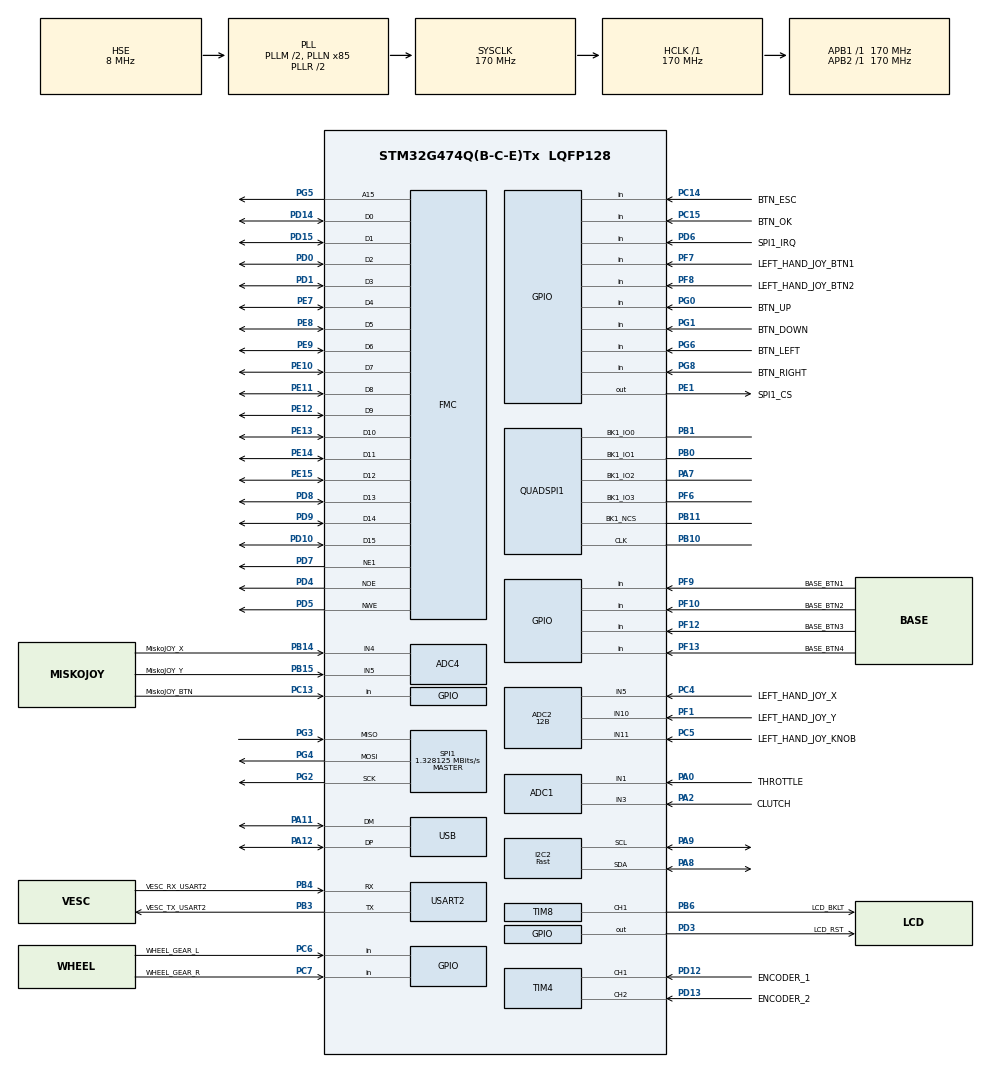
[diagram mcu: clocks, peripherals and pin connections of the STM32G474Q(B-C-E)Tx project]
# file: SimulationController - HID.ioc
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ADC1.Channel-0\#ChannelRegularConversion=ADC_CHANNEL_1
ADC1.Channel-1\#ChannelRegularConversion=ADC_CHANNEL_3
ADC1.ContinuousConvMode=DISABLE
ADC1.DMAContinuousRequests=ENABLE
ADC1.EOCSelection=ADC_EOC_SEQ_CONV
ADC1.ExternalTrigConv=ADC_EXTERNALTRIG_T2_TRGO
ADC1.NbrOfConversion=2
ADC1.NbrOfConversionFlag=1
ADC1.OffsetNumber-0\#ChannelRegularConversion=ADC_OFFSET_NONE
ADC1.OffsetNumber-1\#ChannelRegularConversion=ADC_OFFSET_NONE
ADC1.Overrun=ADC_OVR_DATA_OVERWRITTEN
ADC1.OversamplingMode=ENABLE
ADC1.Rank-0\#ChannelRegularConversion=1
ADC1.Rank-1\#ChannelRegularConversion=2
ADC1.Ratio=ADC_OVERSAMPLING_RATIO_16
ADC1.RightBitShift=ADC_RIGHTBITSHIFT_4
ADC1.SamplingTime-0\#ChannelRegularConversion=ADC_SAMPLETIME_2CYCLES_5
ADC1.SamplingTime-1\#ChannelRegularConversion=ADC_SAMPLETIME_2CYCLES_5
ADC1.master=1
ADC2.Channel-0\#ChannelRegularConversion=ADC_CHANNEL_5
ADC2.Channel-1\#ChannelRegularConversion=ADC_CHANNEL_10
ADC2.Channel-2\#ChannelRegularConversion=ADC_CHANNEL_11
ADC2.ContinuousConvMode=DISABLE
ADC2.DMAContinuousRequests=ENABLE
ADC2.EOCSelection=ADC_EOC_SEQ_CONV
ADC2.ExternalTrigConv=ADC_EXTERNALTRIG_T2_TRGO
ADC2.NbrOfConversion=3
ADC2.NbrOfConversionFlag=1
ADC2.OffsetNumber-0\#ChannelRegularConversion=ADC_OFFSET_NONE
ADC2.OffsetNumber-1\#ChannelRegularConversion=ADC_OFFSET_NONE
ADC2.OffsetNumber-2\#ChannelRegularConversion=ADC_OFFSET_NONE
ADC2.Overrun=ADC_OVR_DATA_OVERWRITTEN
ADC2.OversamplingMode=ENABLE
ADC2.Rank-0\#ChannelRegularConversion=1
ADC2.Rank-1\#ChannelRegularConversion=2
ADC2.Rank-2\#ChannelRegularConversion=3
ADC2.Ratio=ADC_OVERSAMPLING_RATIO_16
ADC2.Resolution=ADC_RESOLUTION_12B
ADC2.RightBitShift=ADC_RIGHTBITSHIFT_4
ADC2.SamplingTime-0\#ChannelRegularConversion=ADC_SAMPLETIME_2CYCLES_5
ADC2.SamplingTime-1\#ChannelRegularConversion=ADC_SAMPLETIME_2CYCLES_5
ADC2.SamplingTime-2\#ChannelRegularConversion=ADC_SAMPLETIME_2CYCLES_5
ADC4.Channel-0\#ChannelRegularConversion=ADC_CHANNEL_4
ADC4.Channel-1\#ChannelRegularConversion=ADC_CHANNEL_5
ADC4.ContinuousConvMode=DISABLE
ADC4.DMAContinuousRequests=ENABLE
ADC4.EOCSelection=ADC_EOC_SEQ_CONV
ADC4.ExternalTrigConv=ADC_EXTERNALTRIG_T2_TRGO
ADC4.GainCompensation=0
ADC4.NbrOfConversion=2
ADC4.NbrOfConversionFlag=1
ADC4.OffsetNumber-0\#ChannelRegularConversion=ADC_OFFSET_NONE
ADC4.OffsetNumber-1\#ChannelRegularConversion=ADC_OFFSET_NONE
ADC4.Overrun=ADC_OVR_DATA_OVERWRITTEN
ADC4.OversamplingMode=ENABLE
ADC4.Rank-0\#ChannelRegularConversion=1
ADC4.Rank-1\#ChannelRegularConversion=2
ADC4.Ratio=ADC_OVERSAMPLING_RATIO_16
ADC4.RightBitShift=ADC_RIGHTBITSHIFT_4
ADC4.SamplingTime-0\#ChannelRegularConversion=ADC_SAMPLETIME_2CYCLES_5
ADC4.SamplingTime-1\#ChannelRegularConversion=ADC_SAMPLETIME_2CYCLES_5
AL94.I-CUBE-USBD-COMPOSITE.1.0.3._STM32F1_DEVICE=true
AL94.I-CUBE-USBD-COMPOSITE.1.0.3._USBD_USE_CDC_RNDIS=false
AL94.I-CUBE-USBD-COMPOSITE.1.0.3._USBD_USE_HID_CUSTOM=true
AL94.I-CUBE-USBD-COMPOSITE.1.0.3._USBD_USE_HID_KEYBOARD=false
AL94.I-CUBE-USBD-COMPOSITE.1.0.3._USBD_USE_HID_MOUSE=false
AL94.I-CUBE-USBD-COMPOSITE.1.0.3._USBD_USE_HS=false
Dma.ADC1.1.Direction=DMA_PERIPH_TO_MEMORY
Dma.ADC1.1.EventEnable=DISABLE
Dma.ADC1.1.Instance=DMA1_Channel1
Dma.ADC1.1.MemDataAlignment=DMA_MDATAALIGN_HALFWORD
Dma.ADC1.1.MemInc=DMA_MINC_ENABLE
Dma.ADC1.1.Mode=DMA_CIRCULAR
Dma.ADC1.1.PeriphDataAlignment=DMA_PDATAALIGN_HALFWORD
Dma.ADC1.1.PeriphInc=DMA_PINC_DISABLE
Dma.ADC1.1.Polarity=HAL_DMAMUX_REQ_GEN_RISING
Dma.ADC1.1.Priority=DMA_PRIORITY_HIGH
Dma.ADC1.1.RequestNumber=1
Dma.ADC1.1.SignalID=NONE
Dma.ADC1.1.SyncEnable=DISABLE
Dma.ADC1.1.SyncPolarity=HAL_DMAMUX_SYNC_NO_EVENT
Dma.ADC1.1.SyncRequestNumber=1
Dma.ADC1.1.SyncSignalID=NONE
Dma.ADC2.0.Direction=DMA_PERIPH_TO_MEMORY
Dma.ADC2.0.EventEnable=DISABLE
Dma.ADC2.0.Instance=DMA1_Channel2
Dma.ADC2.0.MemDataAlignment=DMA_MDATAALIGN_HALFWORD
Dma.ADC2.0.MemInc=DMA_MINC_ENABLE
Dma.ADC2.0.Mode=DMA_CIRCULAR
Dma.ADC2.0.PeriphDataAlignment=DMA_PDATAALIGN_HALFWORD
Dma.ADC2.0.PeriphInc=DMA_PINC_DISABLE
Dma.ADC2.0.Polarity=HAL_DMAMUX_REQ_GEN_RISING
Dma.ADC2.0.Priority=DMA_PRIORITY_HIGH
Dma.ADC2.0.RequestNumber=1
Dma.ADC2.0.SignalID=NONE
Dma.ADC2.0.SyncEnable=DISABLE
Dma.ADC2.0.SyncPolarity=HAL_DMAMUX_SYNC_NO_EVENT
Dma.ADC2.0.SyncRequestNumber=1
Dma.ADC2.0.SyncSignalID=NONE
Dma.ADC4.2.Direction=DMA_PERIPH_TO_MEMORY
Dma.ADC4.2.EventEnable=DISABLE
Dma.ADC4.2.Instance=DMA1_Channel3
Dma.ADC4.2.MemDataAlignment=DMA_MDATAALIGN_HALFWORD
Dma.ADC4.2.MemInc=DMA_MINC_ENABLE
Dma.ADC4.2.Mode=DMA_CIRCULAR
Dma.ADC4.2.PeriphDataAlignment=DMA_PDATAALIGN_HALFWORD
Dma.ADC4.2.PeriphInc=DMA_PINC_DISABLE
Dma.ADC4.2.Polarity=HAL_DMAMUX_REQ_GEN_RISING
Dma.ADC4.2.Priority=DMA_PRIORITY_HIGH
Dma.ADC4.2.RequestNumber=1
Dma.ADC4.2.SignalID=NONE
Dma.ADC4.2.SyncEnable=DISABLE
Dma.ADC4.2.SyncPolarity=HAL_DMAMUX_SYNC_NO_EVENT
Dma.ADC4.2.SyncRequestNumber=1
Dma.ADC4.2.SyncSignalID=NONE
Dma.Request0=ADC2
Dma.Request1=ADC1
Dma.Request2=ADC4
FMC.AddressSetupTime1=3
FMC.BusTurnAroundDuration1=2
FMC.DataHoldTime1=2
FMC.DataSetupTime1=2
I2C2.I2C_Speed_Mode=I2C_Fast
I2C2.Timing=0x40621236
Mcu.Family=STM32G4
Mcu.Name=STM32G474Q(B-C-E)Tx
Mcu.Package=LQFP128
NVIC.ADC1_2_IRQn=true\:0\:0\:false\:false\:true\:true\:true\:true
NVIC.ADC4_IRQn=true\:0\:0\:false\:false\:true\:true\:true\:true
NVIC.DMA1_Channel1_IRQn=true\:0\:0\:false\:false\:true\:false\:true\:true
NVIC.DMA1_Channel2_IRQn=true\:0\:0\:false\:false\:true\:false\:true\:true
NVIC.DMA1_Channel3_IRQn=true\:0\:0\:false\:false\:true\:false\:true\:true
NVIC.PriorityGroup=NVIC_PRIORITYGROUP_4
NVIC.SPI1_IRQn=true\:0\:0\:false\:false\:true\:true\:true\:true
NVIC.TIM2_IRQn=true\:1\:0\:true\:false\:true\:true\:true\:true
NVIC.TIM3_IRQn=true\:2\:0\:true\:false\:true\:true\:true\:true
NVIC.USB_HP_IRQn=true\:0\:0\:false\:false\:true\:true\:true\:true
NVIC.USB_LP_IRQn=true\:0\:0\:false\:false\:true\:true\:true\:true
PA0.GPIO_Label=THROTTLE
PA0.Mode=IN1-Single-Ended
PA0.Signal=ADC1_IN1
PA11.Mode=Device
PA11.Signal=USB_DM
PA12.Mode=Device
PA12.Signal=USB_DP
PA13.Mode=Serial_Wire
PA13.Signal=SYS_JTMS-SWDIO
PA14.Mode=Serial_Wire
PA14.Signal=SYS_JTCK-SWCLK
PA2.GPIO_Label=CLUTCH
PA2.Mode=IN3-Single-Ended
PA2.Signal=ADC1_IN3
PA7.GPIO_Speed=GPIO_SPEED_FREQ_VERY_HIGH
PA7.Mode=Single Bank 1
PA7.Signal=QUADSPI1_BK1_IO2
PA8.Mode=I2C
PA8.Signal=I2C2_SDA
PA9.Mode=I2C
PA9.Signal=I2C2_SCL
PB0.GPIO_Speed=GPIO_SPEED_FREQ_VERY_HIGH
PB0.Mode=Single Bank 1
PB0.Signal=QUADSPI1_BK1_IO1
PB1.GPIO_Speed=GPIO_SPEED_FREQ_VERY_HIGH
PB1.Mode=Single Bank 1
PB1.Signal=QUADSPI1_BK1_IO0
PB10.GPIO_Speed=GPIO_SPEED_FREQ_VERY_HIGH
PB10.Mode=Single Bank 1
PB10.Signal=QUADSPI1_CLK
PB11.GPIO_Speed=GPIO_SPEED_FREQ_VERY_HIGH
PB11.Mode=Single Bank 1
PB11.Signal=QUADSPI1_BK1_NCS
PB14.GPIO_Label=MiskoJOY_X
PB14.Mode=IN4-Single-Ended
PB14.Signal=ADC4_IN4
PB15.GPIO_Label=MiskoJOY_Y
PB15.Mode=IN5-Single-Ended
PB15.Signal=ADC4_IN5
PB3.GPIO_Label=VESC_TX_USART2
PB3.Mode=Asynchronous
PB3.Signal=USART2_TX
PB4.GPIO_Label=VESC_RX_USART2
PB4.Mode=Asynchronous
PB4.Signal=USART2_RX
PB6.GPIO_Label=LCD_BKLT
PB6.Signal=S_TIM8_CH1
PC13.GPIO_Label=MiskoJOY_BTN
PC13.GPIO_PuPd=GPIO_PULLUP
PC13.Signal=GPIO_Input
PC14-OSC32_IN.GPIO_Label=BTN_ESC
PC14-OSC32_IN.GPIO_PuPd=GPIO_PULLUP
PC14-OSC32_IN.Signal=GPIO_Input
PC15-OSC32_OUT.GPIO_Label=BTN_OK
PC15-OSC32_OUT.GPIO_PuPd=GPIO_PULLUP
PC15-OSC32_OUT.Signal=GPIO_Input
PC4.GPIO_Label=LEFT_HAND_JOY_X
PC4.Mode=IN5-Single-Ended
PC4.Signal=ADC2_IN5
PC5.GPIO_Label=LEFT_HAND_JOY_KNOB
PC5.Mode=IN11-Single-Ended
PC5.Signal=ADC2_IN11
PC6.GPIO_Label=WHEEL_GEAR_L
PC6.GPIO_PuPd=GPIO_PULLUP
PC6.Signal=GPIO_Input
PC7.GPIO_Label=WHEEL_GEAR_R
PC7.GPIO_PuPd=GPIO_PULLUP
PC7.Signal=GPIO_Input
PD0.Signal=FMC_D2_DA2
PD1.Signal=FMC_D3_DA3
PD10.Signal=FMC_D15_DA15
PD12.GPIO_Label=ENCODER_1
PD12.Signal=S_TIM4_CH1
PD13.GPIO_Label=ENCODER_2
PD13.Signal=S_TIM4_CH2
PD14.Signal=FMC_D0_DA0
PD15.Signal=FMC_D1_DA1
PD3.GPIO_Label=LCD_RST
PD3.Signal=GPIO_Output
PD4.Signal=FMC_NOE
PD5.Signal=FMC_NWE
PD6.GPIO_Label=SPI1_IRQ
PD6.GPIO_PuPd=GPIO_PULLUP
PD6.Signal=GPIO_Input
PD7.Mode=NorPsramChipSelect1_1
PD7.Signal=FMC_NE1
PD8.Signal=FMC_D13_DA13
PD9.Signal=FMC_D14_DA14
PE1.GPIO_Label=SPI1_CS
PE1.PinState=GPIO_PIN_SET
PE1.Signal=GPIO_Output
PE10.Signal=FMC_D7_DA7
PE11.Signal=FMC_D8_DA8
PE12.Signal=FMC_D9_DA9
PE13.Signal=FMC_D10_DA10
PE14.Signal=FMC_D11_DA11
PE15.Signal=FMC_D12_DA12
PE7.Signal=FMC_D4_DA4
PE8.Signal=FMC_D5_DA5
PE9.Signal=FMC_D6_DA6
PF0-OSC_IN.Mode=HSE-External-Clock-Source
PF0-OSC_IN.Signal=RCC_OSC_IN
PF1-OSC_OUT.GPIO_Label=LEFT_HAND_JOY_Y
PF1-OSC_OUT.Mode=IN10-Single-Ended
PF1-OSC_OUT.Signal=ADC2_IN10
PF10.GPIO_Label=BASE_BTN2
PF10.GPIO_PuPd=GPIO_PULLUP
PF10.Signal=GPIO_Input
PF12.GPIO_Label=BASE_BTN3
PF12.GPIO_PuPd=GPIO_PULLUP
PF12.Signal=GPIO_Input
PF13.GPIO_Label=BASE_BTN4
PF13.GPIO_PuPd=GPIO_PULLUP
PF13.Signal=GPIO_Input
PF6.GPIO_Speed=GPIO_SPEED_FREQ_VERY_HIGH
PF6.Mode=Single Bank 1
PF6.Signal=QUADSPI1_BK1_IO3
PF7.GPIO_Label=LEFT_HAND_JOY_BTN1
PF7.GPIO_PuPd=GPIO_PULLUP
PF7.Signal=GPIO_Input
PF8.GPIO_Label=LEFT_HAND_JOY_BTN2
PF8.GPIO_PuPd=GPIO_PULLUP
PF8.Signal=GPIO_Input
PF9.GPIO_Label=BASE_BTN1
PF9.GPIO_PuPd=GPIO_PULLUP
PF9.Signal=GPIO_Input
PG0.GPIO_Label=BTN_UP
PG0.GPIO_PuPd=GPIO_PULLUP
PG0.Signal=GPIO_Input
PG1.GPIO_Label=BTN_DOWN
PG1.GPIO_PuPd=GPIO_PULLUP
PG1.Signal=GPIO_Input
PG2.GPIO_PuPd=GPIO_PULLUP
PG2.GPIO_Speed=GPIO_SPEED_FREQ_VERY_HIGH
PG2.Mode=Full_Duplex_Master
PG2.Signal=SPI1_SCK
PG3.GPIO_PuPd=GPIO_PULLUP
PG3.GPIO_Speed=GPIO_SPEED_FREQ_VERY_HIGH
PG3.Mode=Full_Duplex_Master
PG3.Signal=SPI1_MISO
PG4.GPIO_PuPd=GPIO_PULLUP
PG4.GPIO_Speed=GPIO_SPEED_FREQ_VERY_HIGH
PG4.Mode=Full_Duplex_Master
PG4.Signal=SPI1_MOSI
PG5.Signal=FMC_A15
PG6.GPIO_Label=BTN_LEFT
PG6.GPIO_PuPd=GPIO_PULLUP
PG6.Signal=GPIO_Input
PG8.GPIO_Label=BTN_RIGHT
PG8.GPIO_PuPd=GPIO_PULLUP
PG8.Signal=GPIO_Input
ProjectManager.HeapSize=0x200
ProjectManager.StackSize=0x400
ProjectManager.TargetToolchain=STM32CubeIDE
QUADSPI1.ClockPrescaler=4
QUADSPI1.FlashSize=23
RCC.ADC12Freq_Value=170000000
RCC.ADC345Freq_Value=170000000
RCC.AHBFreq_Value=170000000
RCC.APB1Freq_Value=170000000
RCC.APB1TimFreq_Value=170000000
RCC.APB2Freq_Value=170000000
RCC.APB2TimFreq_Value=170000000
RCC.CK48CLockSelection=RCC_USBCLKSOURCE_HSI48
RCC.CortexFreq_Value=170000000
RCC.EXTERNAL_CLOCK_VALUE=12288000
RCC.HCLKFreq_Value=170000000
RCC.HSE_VALUE=8000000
RCC.HSI48_VALUE=48000000
RCC.HSI_VALUE=16000000
RCC.LSE_VALUE=32768
RCC.PLLM=RCC_PLLM_DIV2
RCC.PLLN=85
RCC.PLLQ=RCC_PLLQ_DIV6
RCC.PLLSourceVirtual=RCC_PLLSOURCE_HSE
RCC.SYSCLKFreq_VALUE=170000000
RCC.SYSCLKSource=RCC_SYSCLKSOURCE_PLLCLK
RCC.USBFreq_Value=48000000
RCC.VCOOutputFreq_Value=340000000
SH.FMC_A15.0=FMC_A15,A15_1
SH.FMC_D0_DA0.0=FMC_D0,16b-d1
SH.FMC_D10_DA10.0=FMC_D10,16b-d1
SH.FMC_D11_DA11.0=FMC_D11,16b-d1
SH.FMC_D12_DA12.0=FMC_D12,16b-d1
SH.FMC_D13_DA13.0=FMC_D13,16b-d1
SH.FMC_D14_DA14.0=FMC_D14,16b-d1
SH.FMC_D15_DA15.0=FMC_D15,16b-d1
SH.FMC_D1_DA1.0=FMC_D1,16b-d1
SH.FMC_D2_DA2.0=FMC_D2,16b-d1
SH.FMC_D3_DA3.0=FMC_D3,16b-d1
SH.FMC_D4_DA4.0=FMC_D4,16b-d1
SH.FMC_D5_DA5.0=FMC_D5,16b-d1
SH.FMC_D6_DA6.0=FMC_D6,16b-d1
SH.FMC_D7_DA7.0=FMC_D7,16b-d1
SH.FMC_D8_DA8.0=FMC_D8,16b-d1
SH.FMC_D9_DA9.0=FMC_D9,16b-d1
SH.FMC_NOE.0=FMC_NOE,Lcd1
SH.FMC_NWE.0=FMC_NWE,Lcd1
SH.S_TIM4_CH1.0=TIM4_CH1,Encoder_Interface
SH.S_TIM4_CH2.0=TIM4_CH2,Encoder_Interface
SH.S_TIM8_CH1.0=TIM8_CH1,PWM Generation1 CH1
SPI1.BaudRatePrescaler=SPI_BAUDRATEPRESCALER_128
SPI1.CalculateBaudRate=1.328125 MBits/s
SPI1.DataSize=SPI_DATASIZE_8BIT
SPI1.Direction=SPI_DIRECTION_2LINES
SPI1.Mode=SPI_MODE_MASTER
SPI1.NSSPMode=SPI_NSS_PULSE_DISABLE
SPI1.VirtualType=VM_MASTER
TIM2.PeriodNoDither=999
TIM2.Prescaler=1699
TIM2.TIM_MasterOutputTrigger=TIM_TRGO_UPDATE
TIM2.TIM_MasterSlaveMode=TIM_MASTERSLAVEMODE_ENABLE
TIM3.AutoReloadPreload=TIM_AUTORELOAD_PRELOAD_ENABLE
TIM3.PeriodNoDither=4999
TIM3.Prescaler=169
TIM3.TIM_MasterOutputTrigger=TIM_TRGO_RESET
TIM4.EncoderMode=TIM_ENCODERMODE_TI12
TIM8.Channel-PWM\ Generation1\ CH1=TIM_CHANNEL_1
TIM8.PeriodNoDither=999
USART2.VirtualMode-Asynchronous=VM_ASYNC
USB_DEVICE.CLASS_NAME_FS=CUSTOM_HID
USB_DEVICE.CUSTOM_HID_FS_BINTERVAL=0x1
USB_DEVICE.USBD_CUSTOMHID_OUTREPORT_BUF_SIZE=64
USB_DEVICE.USBD_CUSTOM_HID_REPORT_DESC_SIZE=64
USB_DEVICE.USBD_MAX_NUM_INTERFACES=2
USB_DEVICE.VirtualMode=CustomHid
USB_DEVICE.VirtualModeFS=Custom_Hid_FS
VP_SYS_VS_DBSignals.Mode=DisableDeadBatterySignals
VP_TIM2_VS_ClockSourceINT.Mode=Internal
VP_TIM3_VS_ClockSourceINT.Mode=Internal
VP_USB_DEVICE_VS_USB_DEVICE_CUSTOM_HID_FS.Mode=CUSTOM_HID_FS
board=custom

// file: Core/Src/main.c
/* USER CODE BEGIN Header */
/**
  ******************************************************************************
  * @file           : main.c
  * @brief          : Main program body
  ******************************************************************************
  * @attention
  *
  * Copyright (c) 2025 STMicroelectronics.
  * All rights reserved.
  *
  * This software is licensed under terms that can be found in the LICENSE file
  * in the root directory of this software component.
  * If no LICENSE file comes with this software, it is provided AS-IS.
  *
  ******************************************************************************
  */
/* USER CODE END Header */
#include "main.h"
#include "adc.h"
#include "dma.h"
#include "i2c.h"
#include "quadspi.h"
#include "spi.h"
#include "tim.h"
#include "usart.h"
#include "usb_device.h"
#include "gpio.h"
#include "fmc.h"

/* USER CODE BEGIN Includes */
#include "InputCollection.h"
#include "ili9341.h"
#include "ui.h"
#include "touch_driver.h"
#include "actions.h"
#include "lvgl.h"
#include "vars.h"
#include "lvgl_lcd.h"
#include "flash_settings.h"
#include "usb_device.h"
#include "ffb_pid.h"
#include "vesc_uart.h"
/* USER CODE END Includes */

/* USER CODE BEGIN PM */
SystemSettings system_settings;
/* USER CODE END PM */

void SystemClock_Config(void);
/* USER CODE BEGIN PFP */

void HAL_TIM_PeriodElapsedCallback(TIM_HandleTypeDef *htim)
{
    if (htim != &htim2) return;

    static RawInputs  raw    = {0};
    static MappedAxes mapped = {0};
    static uint32_t   brake_div = 0;

    uint32_t now = HAL_GetTick();

    /* Update brake cache at NAU7802 rate, independently of main sample rate.
       At 1000 Hz main rate and 80 SPS NAU7802: update every 13 ticks (~77 Hz margin). */
    if (++brake_div >= (system_settings.frequency / 320))
    {
        brake_div = 0;
        Inputs_UpdateBrake();
    }

    Inputs_CollectAll(&raw);
    Inputs_MapAxes(&raw, &mapped);
    Inputs_BuildAndSendReport(&mapped, raw.buttons);

    int32_t position = (int32_t)mapped.values[AXIS_WHEEL];
    int32_t speed    = FFB_CalculateSpeed(AXIS_WHEEL, position, now);
    int32_t accel    = FFB_CalculateAccel(AXIS_WHEEL, speed, now);
    FFB_SetMotorCurrent(FFB_GetForce(position, speed, accel, now));
}

/* USER CODE END PFP */

int main(void)
{

  /* MCU Configuration--------------------------------------------------------*/

  /* Reset of all peripherals, Initializes the Flash interface and the Systick. */
  HAL_Init();

  /* Configure the system clock */
  SystemClock_Config();

  /* Initialize all configured peripherals */
  MX_GPIO_Init();
  MX_DMA_Init();
  MX_ADC1_Init();
  MX_ADC2_Init();
  MX_ADC4_Init();
  MX_TIM4_Init();
  MX_FMC_Init();
  MX_SPI1_Init();
  MX_TIM8_Init();
  MX_TIM2_Init();
  MX_TIM3_Init();
  MX_QUADSPI1_Init();
  MX_USB_Device_Init();
  MX_USART2_UART_Init();
  MX_I2C2_Init();
  /* USER CODE BEGIN 2 */

  //Init VESC
  vesc_init(&huart2);

  HAL_Delay(100);
  /* Initialize QSPI */

  if (CSP_QUADSPI_Init() != HAL_OK) Error_Handler();
  if (CSP_QSPI_EnableMemoryMappedMode() != HAL_OK) Error_Handler();

  //Get User Settings
  Flash_Read_All_Settings(FLASH_PAGE_ADDRESS, &system_settings);

  //UI
  lcd_init();
  lvgl_init();
  touchInit(); //overrides CUBEMX configuration for SPI1
  touchCSSelect();
  lvgl_ui_init();

  //ADC, Encoder,
  Inputs_Init();
  HAL_TIM_Encoder_Start(&htim4, TIM_CHANNEL_ALL);

  Set_Sampling_Frequency(system_settings.frequency);
  Set_Brightness(system_settings.brightness);
  HAL_TIM_Base_Start_IT(&htim2);	//Input Sampling

  /* USER CODE END 2 */

  /* Infinite loop */
  while (1)
  {

    /* USER CODE BEGIN 3 */
    lv_timer_handler();
    tick_screen_by_id(SelectedScreen);
    vesc_process_pending();
  }

  /* USER CODE END 3 */
}

void SystemClock_Config(void)
{
  RCC_OscInitTypeDef RCC_OscInitStruct = {0};
  RCC_ClkInitTypeDef RCC_ClkInitStruct = {0};

  /** Configure the main internal regulator output voltage
  */
  HAL_PWREx_ControlVoltageScaling(PWR_REGULATOR_VOLTAGE_SCALE1_BOOST);

  /** Initializes the RCC Oscillators according to the specified parameters
  * in the RCC_OscInitTypeDef structure.
  */
  RCC_OscInitStruct.OscillatorType = RCC_OSCILLATORTYPE_HSI48|RCC_OSCILLATORTYPE_HSE;
  RCC_OscInitStruct.HSEState = RCC_HSE_BYPASS;
  RCC_OscInitStruct.HSI48State = RCC_HSI48_ON;
  RCC_OscInitStruct.PLL.PLLState = RCC_PLL_ON;
  RCC_OscInitStruct.PLL.PLLSource = RCC_PLLSOURCE_HSE;
  RCC_OscInitStruct.PLL.PLLM = RCC_PLLM_DIV2;
  RCC_OscInitStruct.PLL.PLLN = 85;
  RCC_OscInitStruct.PLL.PLLP = RCC_PLLP_DIV2;
  RCC_OscInitStruct.PLL.PLLQ = RCC_PLLQ_DIV6;
  RCC_OscInitStruct.PLL.PLLR = RCC_PLLR_DIV2;
  if (HAL_RCC_OscConfig(&RCC_OscInitStruct) != HAL_OK)
  {
    Error_Handler();
  }

  /** Initializes the CPU, AHB and APB buses clocks
  */
  RCC_ClkInitStruct.ClockType = RCC_CLOCKTYPE_HCLK|RCC_CLOCKTYPE_SYSCLK
                              |RCC_CLOCKTYPE_PCLK1|RCC_CLOCKTYPE_PCLK2;
  RCC_ClkInitStruct.SYSCLKSource = RCC_SYSCLKSOURCE_PLLCLK;
  RCC_ClkInitStruct.AHBCLKDivider = RCC_SYSCLK_DIV1;
  RCC_ClkInitStruct.APB1CLKDivider = RCC_HCLK_DIV1;
  RCC_ClkInitStruct.APB2CLKDivider = RCC_HCLK_DIV1;

  if (HAL_RCC_ClockConfig(&RCC_ClkInitStruct, FLASH_LATENCY_4) != HAL_OK)
  {
    Error_Handler();
  }
}

/* USER CODE BEGIN 4 */
int _write(int file, char *ptr, int len)
{
  (void)file;
  int DataIdx;
  for (DataIdx = 0; DataIdx < len; DataIdx++)
  {
    ITM_SendChar(*ptr++);
  }
  return len;
}

/* USER CODE END 4 */

void Error_Handler(void)
{
  __disable_irq();
  while (1)
  {
  }
}
